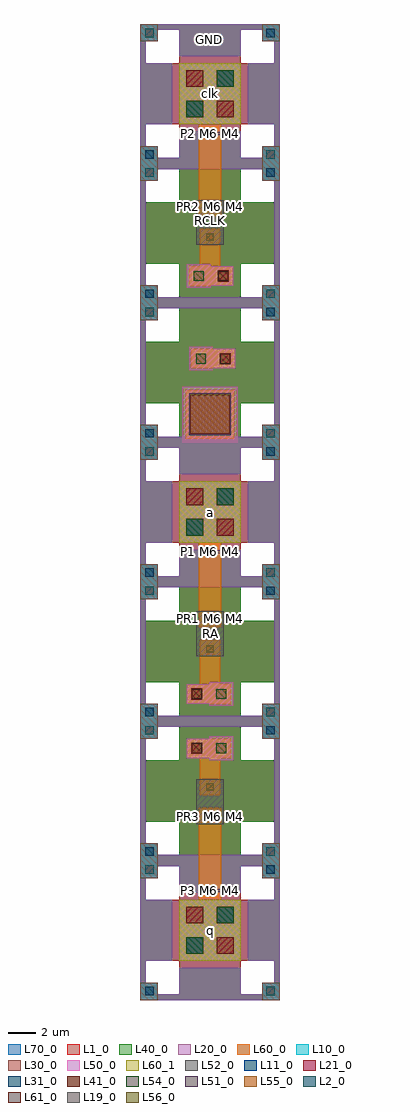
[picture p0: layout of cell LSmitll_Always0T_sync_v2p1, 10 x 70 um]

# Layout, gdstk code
from math import pi, radians
import gdstk
lib = gdstk.Library(unit=1e-6, precision=1e-09)
def R(c, l, rs):  # rectangles x0, y0, x1, y1
    for r in rs: c.add(gdstk.rectangle(r[:2], r[2:], *l))
def A(c, l, x, y, w, h, nx, ny, dx, dy):  # array of equal rectangles
    R(c, l, [(x+i*dx, y+j*dy, x+i*dx+w, y+j*dy+h) for i in range(nx) for j in range(ny)])
def P(c, l, *ps):  # polygons
    for p in ps: c.add(gdstk.Polygon(p, *l))
L1_0 = (1, 0)
L2_0 = (2, 0)
L10_0 = (10, 0)
L11_0 = (11, 0)
L19_0 = (19, 0)
L20_0 = (20, 0)
L21_0 = (21, 0)
L30_0 = (30, 0)
L31_0 = (31, 0)
L40_0 = (40, 0)
L41_0 = (41, 0)
L50_0 = (50, 0)
L51_0 = (51, 0)
L52_0 = (52, 0)
L54_0 = (54, 0)
L55_0 = (55, 0)
L56_0 = (56, 0)
L60_0 = (60, 0)
L60_1 = (60, 1)
L61_0 = (61, 0)
L70_0 = (70, 0)

ls_tr_m7 = lib.new_cell('ls_tr_M7')
P(ls_tr_m7, L70_0, [(0,0),(0,10),(1.25,10),(1.25,8.75),(0.4,8.75),(0.4,1.25),(1.25,1.25),(1.25,0.4),(2.8,0.4),(2.8,2.8),(0.4,2.8),(0.4,7.2),(2.8,7.2),(2.8,9.6),(1.25,9.6),(1.25,10),(7.2,10),(7.2,0.4),(8.75,0.4),(8.75,1.25),(9.6,1.25),(9.6,2.8),(7.2,2.8),(7.2,7.2),(9.6,7.2),(9.6,8.75),(8.75,8.75),(8.75,9.6),(7.2,9.6),(7.2,10),(10,10),(10,0)])

ls_tr_u_m4 = lib.new_cell('ls_tr_u_M4')
P(ls_tr_u_m4, L1_0, [(0,0),(0,10),(1.25,10),(1.25,8.75),(0.4,8.75),(0.4,1.25),(1.25,1.25),(1.25,0.4),(2.8,0.4),(2.8,2.8),(0.4,2.8),(0.4,7.2),(2.8,7.2),(2.8,9.6),(1.25,9.6),(1.25,10),(7.2,10),(7.2,0.4),(8.75,0.4),(8.75,1.25),(9.6,1.25),(9.6,2.8),(7.2,2.8),(7.2,7.2),(9.6,7.2),(9.6,8.75),(8.75,8.75),(8.75,9.6),(7.2,9.6),(7.2,10),(10,10),(10,0)])
R(ls_tr_u_m4, L2_0, [(9.05,0.35,9.65,0.95), (0.35,9.05,0.95,9.65)])
R(ls_tr_u_m4, L10_0, [(0,0,1.25,1.25), (8.75,0,10,1.25), (0,8.75,1.25,10), (8.75,8.75,10,10)])
R(ls_tr_u_m4, L11_0, [(0.35,0.35,0.95,0.95), (9.05,9.05,9.65,9.65)])
P(ls_tr_u_m4, L20_0, [(0,0),(0,10),(1.25,10),(1.25,8.75),(0.4,8.75),(0.4,1.25),(1.25,1.25),(1.25,0.4),(8.75,0.4),(8.75,1.25),(9.6,1.25),(9.6,8.75),(8.75,8.75),(8.75,9.6),(1.25,9.6),(1.25,10),(10,10),(10,0)])
R(ls_tr_u_m4, L21_0, [(9.05,0.35,9.65,0.95), (0.35,9.05,0.95,9.65)])
R(ls_tr_u_m4, L30_0, [(0,0,1.25,1.25), (8.75,0,10,1.25), (0,8.75,1.25,10), (8.75,8.75,10,10)])
R(ls_tr_u_m4, L31_0, [(0.35,0.35,0.95,0.95), (9.05,9.05,9.65,9.65)])
P(ls_tr_u_m4, L40_0, [(0,0),(0,10),(1.25,10),(1.25,8.75),(0.4,8.75),(0.4,1.25),(1.25,1.25),(1.25,0.4),(2.8,0.4),(2.8,2.8),(0.4,2.8),(0.4,7.2),(2.8,7.2),(2.8,9.6),(1.25,9.6),(1.25,10),(7.2,10),(7.2,0.4),(8.75,0.4),(8.75,1.25),(9.6,1.25),(9.6,2.8),(7.2,2.8),(7.2,7.2),(9.6,7.2),(9.6,8.75),(8.75,8.75),(8.75,9.6),(7.2,9.6),(7.2,10),(10,10),(10,0)])
ls_tr_u_m4.add(gdstk.Reference(ls_tr_m7, (0,0)))

ls_fakejj_3umx3um = lib.new_cell('ls_FakeJJ_3umx3um')
R(ls_fakejj_3umx3um, L40_0, [(-2,-2,2,2)])
R(ls_fakejj_3umx3um, L50_0, [(-2,-2,2,2)])
R(ls_fakejj_3umx3um, L51_0, [(-1.5,-1.5,1.5,1.5)])
R(ls_fakejj_3umx3um, L55_0, [(-1.4,-1.4,1.4,1.4)])
R(ls_fakejj_3umx3um, L60_0, [(-1.75,-1.75,1.75,1.75)])

ls_conn_m4m5m6m7 = lib.new_cell('ls_conn_M4M5M6M7')
R(ls_conn_m4m5m6m7, L40_0, [(0,0,1.4,1.4)])
R(ls_conn_m4m5m6m7, L41_0, [(0.3,0.3,1.1,1.1)])
P(ls_conn_m4m5m6m7, L50_0, [(1.6,-0.15),(1.6,0),(0,0),(0,1.4),(1.6,1.4),(1.6,1.55),(3.3,1.55),(3.3,-0.15)])
R(ls_conn_m4m5m6m7, L54_0, [(2.1,0.35,2.8,1.05)])
R(ls_conn_m4m5m6m7, L60_0, [(0,0,3.15,1.4)])
R(ls_conn_m4m5m6m7, L61_0, [(0.35,0.35,1.05,1.05)])
R(ls_conn_m4m5m6m7, L70_0, [(0,0,1.4,1.4)])

ls_tr_ptlconnection = lib.new_cell('ls_tr_PTLconnection')
P(ls_tr_ptlconnection, L1_0, [(0,0),(0,10),(1.25,10),(1.25,8.75),(0.4,8.75),(0.4,1.25),(1.25,1.25),(1.25,0.4),(2.8,0.4),(2.8,2.8),(0.4,2.8),(0.4,7.2),(2.8,7.2),(2.8,9.6),(1.25,9.6),(1.25,10),(7.2,10),(7.2,0.4),(8.75,0.4),(8.75,1.25),(9.6,1.25),(9.6,2.8),(7.2,2.8),(7.2,7.2),(9.6,7.2),(9.6,8.75),(8.75,8.75),(8.75,9.6),(7.2,9.6),(7.2,10),(10,10),(10,0)])
R(ls_tr_ptlconnection, L2_0, [(9.05,0.35,9.65,0.95), (0.35,9.05,0.95,9.65)])
R(ls_tr_ptlconnection, L10_0, [(0,0,1.25,1.25), (8.75,0,10,1.25), (2.8,2.8,7.2,7.2), (0,8.75,1.25,10), (8.75,8.75,10,10)])
R(ls_tr_ptlconnection, L11_0, [(0.35,0.35,0.95,0.95), (3.3,3.3,4.5,4.5), (5.5,5.5,6.7,6.7), (9.05,9.05,9.65,9.65)])
R(ls_tr_ptlconnection, L20_0, [(2.8,2.8,7.2,7.2)])
P(ls_tr_ptlconnection, L20_0, [(0,0),(0,10),(7.2,10),(7.2,7.7),(2.8,7.7),(2.8,9.6),(1.25,9.6),(1.25,8.75),(0.4,8.75),(0.4,7.2),(2.3,7.2),(2.3,2.8),(0.4,2.8),(0.4,1.25),(1.25,1.25),(1.25,0.4),(2.8,0.4),(2.8,2.3),(7.2,2.3),(7.2,0.4),(8.75,0.4),(8.75,1.25),(9.6,1.25),(9.6,2.8),(7.7,2.8),(7.7,7.2),(9.6,7.2),(9.6,8.75),(8.75,8.75),(8.75,9.6),(7.2,9.6),(7.2,10),(10,10),(10,0)])
R(ls_tr_ptlconnection, L21_0, [(9.05,0.35,9.65,0.95), (5.5,3.3,6.7,4.5), (3.3,5.5,4.5,6.7), (0.35,9.05,0.95,9.65)])
R(ls_tr_ptlconnection, L30_0, [(0,0,1.25,1.25), (8.75,0,10,1.25), (2.8,2.8,7.2,7.2), (0,8.75,1.25,10), (8.75,8.75,10,10)])
R(ls_tr_ptlconnection, L31_0, [(0.35,0.35,0.95,0.95), (3.3,3.3,4.5,4.5), (5.5,5.5,6.7,6.7), (9.05,9.05,9.65,9.65)])
R(ls_tr_ptlconnection, L40_0, [(2.8,2.8,7.2,7.2)])
P(ls_tr_ptlconnection, L40_0, [(0,0),(0,10),(7.2,10),(7.2,7.7),(2.8,7.7),(2.8,9.6),(1.25,9.6),(1.25,8.75),(0.4,8.75),(0.4,7.2),(2.3,7.2),(2.3,2.8),(0.4,2.8),(0.4,1.25),(1.25,1.25),(1.25,0.4),(2.8,0.4),(2.8,2.3),(7.2,2.3),(7.2,0.4),(8.75,0.4),(8.75,1.25),(9.6,1.25),(9.6,2.8),(7.7,2.8),(7.7,7.2),(9.6,7.2),(9.6,8.75),(8.75,8.75),(8.75,9.6),(7.2,9.6),(7.2,10),(10,10),(10,0)])
R(ls_tr_ptlconnection, L41_0, [(5.5,3.3,6.7,4.5), (3.3,5.5,4.5,6.7)])
R(ls_tr_ptlconnection, L50_0, [(2.8,2.8,7.2,7.2)])
R(ls_tr_ptlconnection, L54_0, [(3.3,3.3,4.5,4.5), (5.5,5.5,6.7,6.7)])
R(ls_tr_ptlconnection, L60_0, [(2.8,2.8,7.2,7.2)])
P(ls_tr_ptlconnection, L70_0, [(0,0),(0,10),(1.25,10),(1.25,8.75),(0.4,8.75),(0.4,1.25),(1.25,1.25),(1.25,0.4),(2.8,0.4),(2.8,2.8),(0.4,2.8),(0.4,7.2),(2.8,7.2),(2.8,9.6),(1.25,9.6),(1.25,10),(7.2,10),(7.2,0.4),(8.75,0.4),(8.75,1.25),(9.6,1.25),(9.6,2.8),(7.2,2.8),(7.2,7.2),(9.6,7.2),(9.6,8.75),(8.75,8.75),(8.75,9.6),(7.2,9.6),(7.2,10),(10,10),(10,0)])

ls_res_2 = lib.new_cell('ls_res_2')
R(ls_res_2, L52_0, [(-1,0,1,3.225)])
R(ls_res_2, L56_0, [(-0.26,0.29,0.26,0.81), (-0.26,2.44,0.26,2.96)])
R(ls_res_2, L60_0, [(-0.625,-0.1,0.625,1.175), (-0.625,2.075,0.625,3.325)])

lsmitll_always0t_sync_v2 = lib.new_cell('LSmitll_Always0T_sync_v2p1')
R(lsmitll_always0t_sync_v2, L19_0, [(4.74,12.89,5.26,13.41), (4.74,27.09,5.26,27.61), (4.74,56.59,5.26,57.11)])
A(lsmitll_always0t_sync_v2, L60_1, 2.8, 2.8, 4.4, 4.4, 1, 3, 0, 30)
lsmitll_always0t_sync_v2.add(gdstk.FlexPath([(5,14.675),(5,17.9)], 1.5, ends="flush", simple_path=True, layer=60, datatype=0))  # L60_0
lsmitll_always0t_sync_v2.add(gdstk.FlexPath([(5,6.55),(5,13.775)], 1.6, ends="flush", simple_path=True, layer=60, datatype=0))  # L60_0
lsmitll_always0t_sync_v2.add(gdstk.FlexPath([(5,62.825),(5,56.225)], 1.6, ends="flush", simple_path=True, layer=60, datatype=0))  # L60_0
lsmitll_always0t_sync_v2.add(gdstk.FlexPath([(5,55.325),(5,52.075)], 1.5, ends="flush", simple_path=True, layer=60, datatype=0))  # L60_0
lsmitll_always0t_sync_v2.add(gdstk.FlexPath([(5,25.825),(5,22.55)], 1.5, ends="flush", simple_path=True, layer=60, datatype=0))  # L60_0
lsmitll_always0t_sync_v2.add(gdstk.FlexPath([(5,33.25),(5,26.725)], 1.6, ends="flush", simple_path=True, layer=60, datatype=0))  # L60_0
lsmitll_always0t_sync_v2.add(gdstk.FlexPath([(4.2,7.85),(5.8,7.85)], 0.2, ends="flush", simple_path=True, layer=19, datatype=0))  # L19_0
lsmitll_always0t_sync_v2.add(gdstk.FlexPath([(4.2,32.15),(5.8,32.15)], 0.2, ends="flush", simple_path=True, layer=19, datatype=0))  # L19_0
lsmitll_always0t_sync_v2.add(gdstk.FlexPath([(4.2,62.15),(5.8,62.15)], 0.2, ends="flush", simple_path=True, layer=19, datatype=0))  # L19_0
lsmitll_always0t_sync_v2.add(gdstk.Reference(ls_tr_u_m4, (0,20)))
lsmitll_always0t_sync_v2.add(gdstk.Reference(ls_tr_u_m4, (0,40)))
lsmitll_always0t_sync_v2.add(gdstk.Reference(ls_tr_u_m4, (0,50)))
lsmitll_always0t_sync_v2.add(gdstk.Reference(ls_fakejj_3umx3um, (5,42)))
lsmitll_always0t_sync_v2.add(gdstk.Reference(ls_tr_u_m4, (0,10)))
lsmitll_always0t_sync_v2.add(gdstk.Reference(ls_conn_m4m5m6m7, (3.35,17.35)))
lsmitll_always0t_sync_v2.add(gdstk.Reference(ls_tr_ptlconnection, (0,0)))
lsmitll_always0t_sync_v2.add(gdstk.Reference(ls_tr_ptlconnection, (0,30)))
lsmitll_always0t_sync_v2.add(gdstk.Reference(ls_tr_ptlconnection, (0,60)))
lsmitll_always0t_sync_v2.add(gdstk.Reference(ls_conn_m4m5m6m7, (6.65,52.625), rotation=pi))
lsmitll_always0t_sync_v2.add(gdstk.Reference(ls_conn_m4m5m6m7, (3.35,21.25)))
lsmitll_always0t_sync_v2.add(gdstk.Reference(ls_conn_m4m5m6m7, (6.8,46.7), rotation=pi))
lsmitll_always0t_sync_v2.add(gdstk.Reference(ls_res_2, (5,54.15)))
lsmitll_always0t_sync_v2.add(gdstk.Reference(ls_res_2, (5,24.65)))
lsmitll_always0t_sync_v2.add(gdstk.Reference(ls_res_2, (5,12.6)))
lsmitll_always0t_sync_v2.add(gdstk.Label('P3 M6 M4', (5,7.85), layer=182, texttype=0))
lsmitll_always0t_sync_v2.add(gdstk.Label('PR3 M6 M4', (5,13.15), layer=182, texttype=0))
lsmitll_always0t_sync_v2.add(gdstk.Label('PR2 M6 M4', (5,56.9), layer=182, texttype=0))
lsmitll_always0t_sync_v2.add(gdstk.Label('P2 M6 M4', (5,62.15), layer=182, texttype=0))
lsmitll_always0t_sync_v2.add(gdstk.Label('PR1 M6 M4', (5,27.35), layer=182, texttype=0))
lsmitll_always0t_sync_v2.add(gdstk.Label('P1 M6 M4', (5,32.15), layer=182, texttype=0))
lsmitll_always0t_sync_v2.add(gdstk.Label('q', (5,5), layer=182, texttype=0))
lsmitll_always0t_sync_v2.add(gdstk.Label('a', (5,35), layer=182, texttype=0))
lsmitll_always0t_sync_v2.add(gdstk.Label('clk', (5,65), layer=182, texttype=0))
lsmitll_always0t_sync_v2.add(gdstk.Label('RCLK', (5,55.894), layer=52, texttype=1))
lsmitll_always0t_sync_v2.add(gdstk.Label('RQ', (4.975,13.982), layer=52, texttype=1))
lsmitll_always0t_sync_v2.add(gdstk.Label('RA', (5,26.287), layer=52, texttype=1))
lsmitll_always0t_sync_v2.add(gdstk.Label('GND', (4.975,68.9), layer=40, texttype=1))
lsmitll_always0t_sync_v2.add(gdstk.Label('a', (5.05,35.025), layer=60, texttype=1))
lsmitll_always0t_sync_v2.add(gdstk.Label('q', (5.05,4.95), layer=60, texttype=1))
lsmitll_always0t_sync_v2.add(gdstk.Label('clk', (5.1,65.075), layer=60, texttype=1))

lib.write_gds('LSmitll_Always0T_sync_v2p1.gds')
